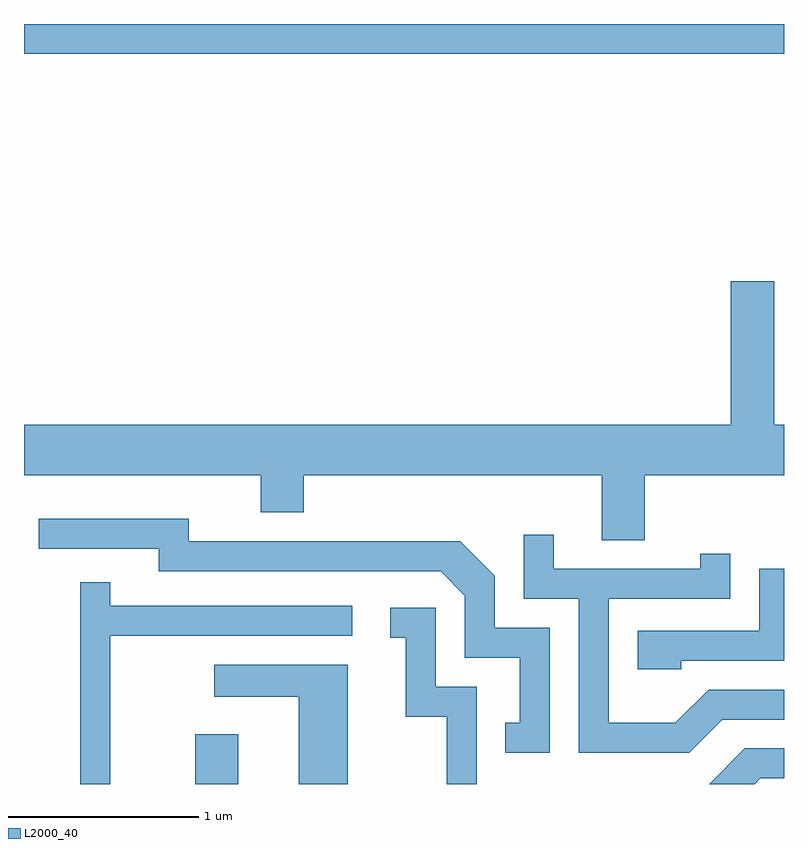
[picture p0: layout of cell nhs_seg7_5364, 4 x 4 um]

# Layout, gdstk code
import gdstk
lib = gdstk.Library(unit=1e-6, precision=1e-09)
def R(c, l, rs):  # rectangles x0, y0, x1, y1
    for r in rs: c.add(gdstk.rectangle(r[:2], r[2:], *l))
def P(c, l, *ps):  # polygons
    for p in ps: c.add(gdstk.Polygon(p, *l))
L2000_40 = (2000, 40)

nhs_seg7_5364 = lib.new_cell('nhs_seg7_5364')
R(nhs_seg7_5364, L2000_40, [(350.511,1708.252,350.739,1708.514), (349.611,1712.096,353.611,1712.252)])
P(nhs_seg7_5364, L2000_40, [(352.879,1709.876),(353.611,1709.876),(353.611,1710.144),(353.559,1710.144),(353.559,1710.899),(353.331,1710.899),(353.331,1710.144),(349.611,1710.144),(349.611,1709.876),(350.856,1709.876),(350.856,1709.681),(351.084,1709.681),(351.084,1709.876),(352.651,1709.876),(352.651,1709.536),(352.879,1709.536)],
  [(352.379,1709.074),(352.089,1709.074),(352.089,1709.347),(351.907,1709.529),(350.479,1709.529),(350.479,1709.649),(349.688,1709.649),(349.688,1709.491),(350.321,1709.491),(350.321,1709.371),(351.804,1709.371),(351.931,1709.244),(351.931,1708.916),(352.221,1708.916),(352.221,1708.574),(352.143,1708.574),(352.143,1708.416),(352.379,1708.416)],
  [(353.287,1708.591),(353.611,1708.591),(353.611,1708.749),(353.214,1708.749),(353.039,1708.574),(352.689,1708.574),(352.689,1709.226),(353.329,1709.226),(353.329,1709.463),(353.171,1709.463),(353.171,1709.384),(352.399,1709.384),(352.399,1709.563),(352.241,1709.563),(352.241,1709.226),(352.531,1709.226),(352.531,1708.416),(353.112,1708.416)],
  [(353.069,1708.901),(353.611,1708.901),(353.611,1709.384),(353.481,1709.384),(353.481,1709.059),(352.841,1709.059),(352.841,1708.856),(353.069,1708.856)],
  [(350.064,1709.031),(351.338,1709.031),(351.338,1709.189),(350.064,1709.189),(350.064,1709.313),(349.906,1709.313),(349.906,1708.252),(350.064,1708.252)],
  [(351.994,1708.764),(351.779,1708.764),(351.779,1709.179),(351.538,1709.179),(351.538,1709.021),(351.621,1709.021),(351.621,1708.606),(351.836,1708.606),(351.836,1708.252),(351.994,1708.252)],
  [(351.314,1708.879),(350.613,1708.879),(350.613,1708.711),(351.056,1708.711),(351.056,1708.252),(351.314,1708.252)],
  [(353.487,1708.281),(353.611,1708.281),(353.611,1708.439),(353.404,1708.439),(353.217,1708.252),(353.458,1708.252)])

lib.write_gds('nhs_seg7_5364.gds')
